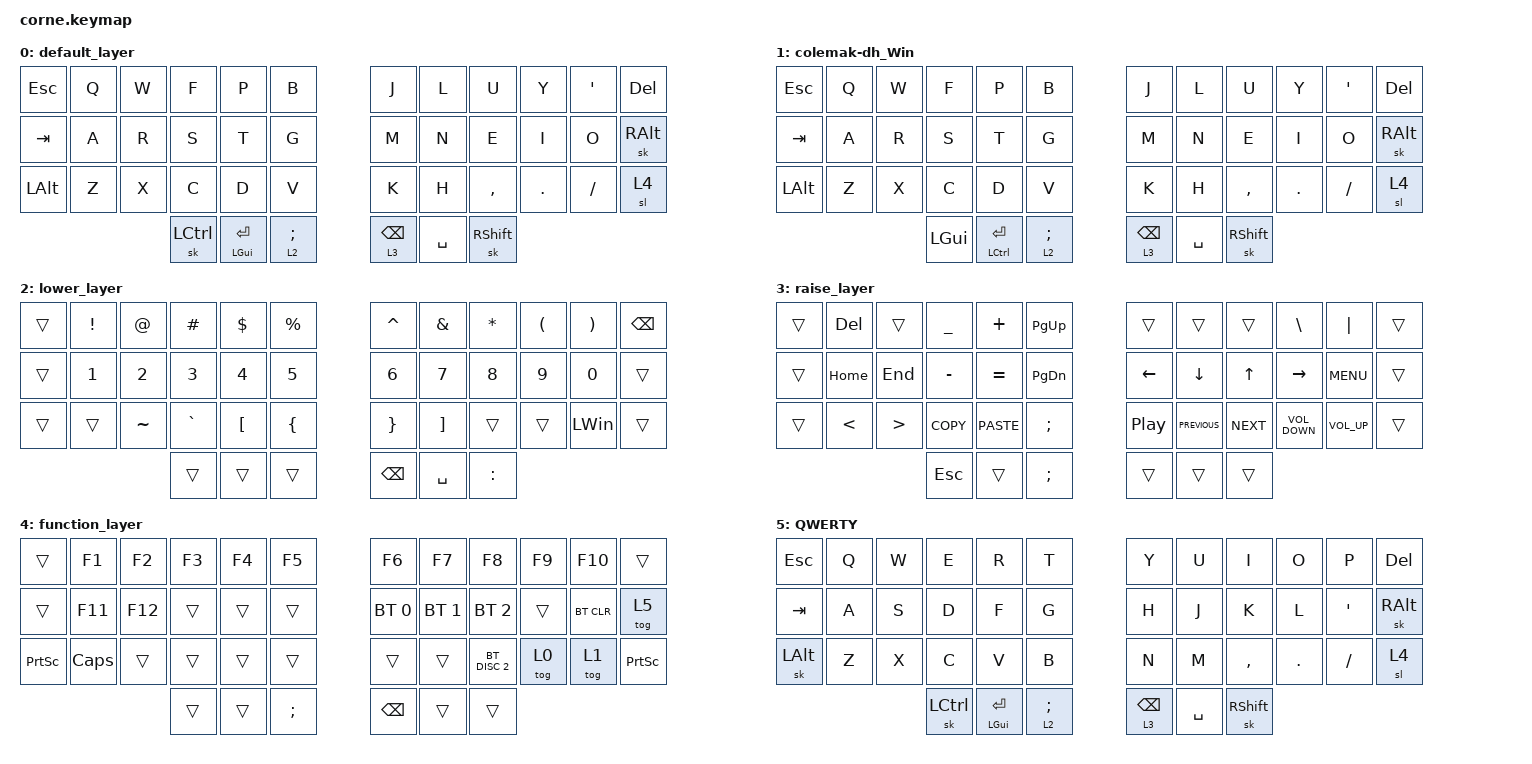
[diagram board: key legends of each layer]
/*
 * Copyright 2024 Michał Minarowski (@n3oney)
 * 
 * Originally created for QMK by Mark Stosberg (@markstos)
 * 
 * SPDX-License-Identifier: GPL-2.0-or-later
 */

#include <behaviors.dtsi>
#include <dt-bindings/zmk/bt.h>
#include <dt-bindings/zmk/keys.h>

/ {
    combos { compatible = "zmk,combos"; };

    keymap {
        compatible = "zmk,keymap";

        default_layer {
            bindings = <
&kp ESCAPE    &kp Q  &kp W  &kp F             &kp P               &kp B         &kp J            &kp L      &kp U            &kp Y    &kp SINGLE_QUOTE  &kp DELETE
&kp TAB       &kp A  &kp R  &kp S             &kp T               &kp G         &kp M            &kp N      &kp E            &kp I    &kp O             &sk RIGHT_ALT
&kp LEFT_ALT  &kp Z  &kp X  &kp C             &kp D               &kp V         &kp K            &kp H      &kp COMMA        &kp DOT  &kp FSLH          &sl 4
                            &sk LEFT_CONTROL  &mt LEFT_GUI ENTER  &lt 2 SEMI    &lt 3 BACKSPACE  &kp SPACE  &sk RIGHT_SHIFT
            >;
        };

        colemak-dh_Win {
            bindings = <
&kp ESCAPE    &kp Q  &kp W  &kp F         &kp P                   &kp B         &kp J            &kp L      &kp U            &kp Y    &kp SINGLE_QUOTE  &kp DELETE
&kp TAB       &kp A  &kp R  &kp S         &kp T                   &kp G         &kp M            &kp N      &kp E            &kp I    &kp O             &sk RIGHT_ALT
&kp LEFT_ALT  &kp Z  &kp X  &kp C         &kp D                   &kp V         &kp K            &kp H      &kp COMMA        &kp DOT  &kp FSLH          &sl 4
                            &kp LEFT_GUI  &mt LEFT_CONTROL ENTER  &lt 2 SEMI    &lt 3 BACKSPACE  &kp SPACE  &sk RIGHT_SHIFT
            >;
        };

        lower_layer {
            bindings = <
&trans  &kp EXCLAMATION  &kp AT_SIGN   &kp POUND     &kp DOLLAR        &kp PERCENT       &kp CARET        &kp AMPERSAND      &kp ASTERISK  &kp LEFT_PARENTHESIS  &kp RIGHT_PARENTHESIS  &kp BSPC
&trans  &kp NUMBER_1     &kp NUMBER_2  &kp NUMBER_3  &kp NUMBER_4      &kp NUMBER_5      &kp NUMBER_6     &kp NUMBER_7       &kp NUMBER_8  &kp NUMBER_9          &kp NUMBER_0           &trans
&trans  &trans           &kp TILDE     &kp GRAVE     &kp LEFT_BRACKET  &kp LEFT_BRACE    &kp RIGHT_BRACE  &kp RIGHT_BRACKET  &trans        &trans                &kp LEFT_WIN           &trans
                                       &trans        &trans            &trans            &kp BACKSPACE    &kp SPACE          &kp COLON
            >;
        };

        raise_layer {
            bindings = <
&trans  &kp DELETE     &trans            &kp UNDERSCORE  &kp PLUS     &kp PAGE_UP      &trans            &trans          &trans        &kp BACKSLASH      &kp PIPE         &trans
&trans  &kp HOME       &kp END           &kp MINUS       &kp EQUAL    &kp PAGE_DOWN    &kp LEFT          &kp DOWN        &kp UP_ARROW  &kp RIGHT          &kp K_MENU       &trans
&trans  &kp LESS_THAN  &kp GREATER_THAN  &kp K_COPY      &kp K_PASTE  &kp SEMICOLON    &kp C_PLAY_PAUSE  &kp C_PREVIOUS  &kp C_NEXT    &kp C_VOLUME_DOWN  &kp C_VOLUME_UP  &trans
                                         &kp ESCAPE      &trans       &kp SEMI         &trans            &trans          &trans
            >;
        };

        function_layer {
            bindings = <
&trans           &kp F1    &kp F2   &kp F3  &kp F4  &kp F5      &kp F6         &kp F7        &kp F8         &kp F9  &kp F10     &trans
&trans           &kp F11   &kp F12  &trans  &trans  &trans      &bt BT_SEL 0   &bt BT_SEL 1  &bt BT_SEL 2   &trans  &bt BT_CLR  &tog 5
&kp PRINTSCREEN  &kp CAPS  &trans   &trans  &trans  &trans      &trans         &trans        &bt BT_DISC 2  &tog 0  &tog 1      &kp PRINTSCREEN
                                    &trans  &trans  &kp SEMI    &kp BACKSPACE  &trans        &trans
            >;
        };

        QWERTY {
            bindings = <
&kp ESCAPE    &kp Q  &kp W  &kp E      &kp R               &kp T         &kp Y            &kp U      &kp I            &kp O    &kp P             &kp DELETE
&kp TAB       &kp A  &kp S  &kp D      &kp F               &kp G         &kp H            &kp J      &kp K            &kp L    &kp SINGLE_QUOTE  &sk RIGHT_ALT
&sk LEFT_ALT  &kp Z  &kp X  &kp C      &kp V               &kp B         &kp N            &kp M      &kp COMMA        &kp DOT  &kp FSLH          &sl 4
                            &sk LCTRL  &mt LEFT_GUI ENTER  &lt 2 SEMI    &lt 3 BACKSPACE  &kp SPACE  &sk RIGHT_SHIFT
            >;
        };
    };
};
